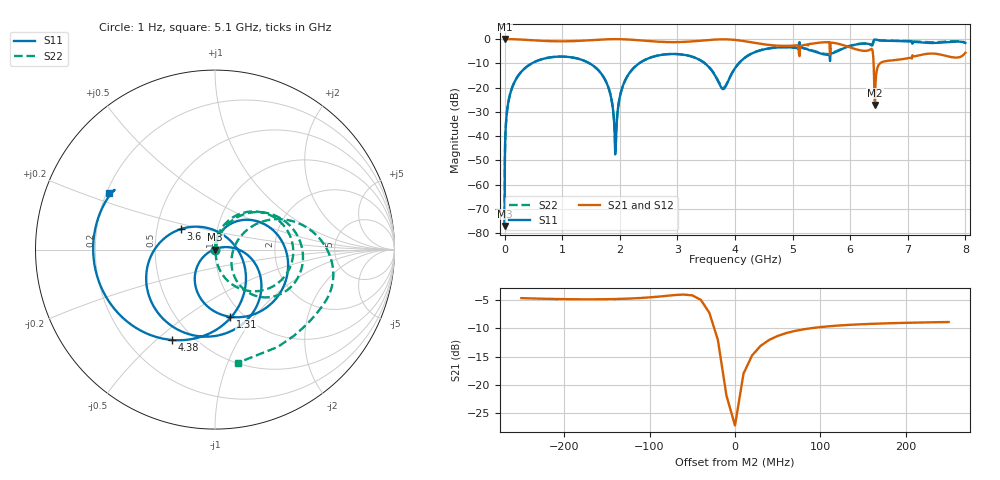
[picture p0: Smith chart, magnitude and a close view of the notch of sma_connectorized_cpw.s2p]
! Touchstone file exported from HFSS 2024.2.0
!  File:  C:/00_Asenjo/00_Project/Ketupa/simulation/Ansys_HFSS_waveguide/CPW/HFSS_Projects/sma_connectorized_cpw.aedt
!  Generated:  11:45:58 AM Sep  1, 2025
!  Design:  sma_connectorized_cpw
!  Project:  sma_connectorized_cpw
!  Setup:  Setup1
!  Solution:  Sweep
# GHz S MA R 50.000000
! Terminal data exported
! Port[1] = sma_cpw_Unnamed_4_T1
! Port[2] = micro_line_T1
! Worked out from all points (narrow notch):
!   951 points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, 1 Hz to 8 GHz, reference 50 ohm
!   highest |S21| = 0.00 dB at 5.623 Hz (marker M1); lowest = -27.2 dB at 6.43 GHz (marker M2)
!   notch at M2: 26.3 dB deep, 42.4 MHz wide at half that depth
!   lowest |S11| = -77.0 dB at 1.122 Hz (marker M3), VSWR 1.00, Z = 50 + j9.43e-08 ohm
!   |S11| at or under -10 dB: start of sweep to 473.1 MHz; 1.475 GHz to 2.336 GHz (861.1 MHz wide, 45.2 % of centre); 3.477 GHz to 4.066 GHz (589.2 MHz wide, 15.6 % of centre)
!   |S22| runs from -77.7 to -0.2 dB; largest |S21 - S12| = 6.7e-11
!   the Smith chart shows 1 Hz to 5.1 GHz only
!   S11 on the Smith chart (normalised r, x): 1 Hz: 1.00, +0.00; 1.31 GHz: 0.87, -0.77; 3.6 GHz: 0.66, +0.16; 4.38 GHz: 0.39, -0.56; 5.1 GHz: 0.21, +0.24
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1e-09  0.000142 0.0  0.9999 -0.0  0.9999 -0.0  0.0001302 0.0
! Gamma 50 0 50 0
! Port Impedance 50 0 50 0
1.122018e-09  0.000142 0.0  0.9999 -0.0  0.9999 -0.0  0.0001302 0.0
5.623413e-09  0.000142 0.0  0.9999 -0.0  0.9999 -0.0  0.0001302 0.0
0.004466836  0.003527 86.3  0.9998 -0.6  0.9998 -0.6  0.003526 86.4
0.02238721  0.01745 86.1  0.9996 -2.7  0.9996 -2.7  0.01744 86.8
0.16  0.1221 67.6  0.9921 -19.5  0.9921 -19.5  0.122 73.2
1.31  0.3838 -77.3  0.9211 -144.8  0.9211 -144.8  0.3839 -32.0
1.34  0.3736 -81.1  0.9252 -148.0  0.9252 -148.0  0.3738 -34.7
1.92  0.004215 162.6  0.9968 143.7  0.9968 143.7  0.006096 -40.1
2.67  0.4608 -77.8  0.8833 56.6  0.8833 56.6  0.4615 11.0
3.6  0.2222 149.0  0.9687 -43.7  0.9687 -43.7  0.2254 -55.4
4.01  0.2608 -49.2  0.9584 -98.0  0.9584 -98.0  0.2629 31.9
4.38  0.5573 -115.4  0.8224 -142.7  0.8224 -142.7  0.5596 9.6
5.1  0.6672 151.8  0.7252 127.0  0.7252 127.0  0.6431 -78.5
5.34  0.5722 90.7  0.8057 122.0  0.8057 122.0  0.5831 -26.5
5.87  0.6331 -96.0  0.7552 39.2  0.7552 39.2  0.6457 -6.7
6.34  0.783 169.7  0.6022 -34.4  0.6022 -34.4  0.7825 -58.5
6.43  0.9842 160.3  0.04368 11.9  0.04368 11.9  0.9713 62.9
6.67  0.9204 119.0  0.3583 -33.1  0.3583 -33.1  0.9311 -5.6
7.21  0.8574 9.9  0.4667 -94.0  0.4667 -94.0  0.8814 -17.8
7.49  0.8339 -90.2  0.4972 -143.7  0.4972 -143.7  0.8639 -17.7
8  0.8313 128.2  0.5234 125.9  0.5234 125.9  0.8391 -55.9
